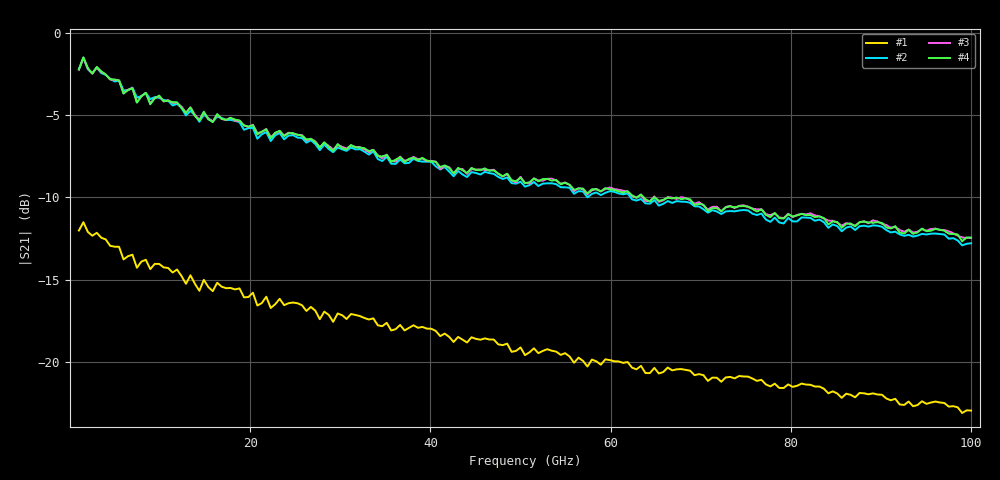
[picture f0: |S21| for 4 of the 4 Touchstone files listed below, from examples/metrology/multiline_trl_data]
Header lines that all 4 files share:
!Created with skrf (http://scikit-rf.org).
# GHz S RI R 50.0
!freq ReS11 ImS11 ReS21 ImS21 ReS12 ImS12 ReS22 ImS22
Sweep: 1 GHz to 100 GHz
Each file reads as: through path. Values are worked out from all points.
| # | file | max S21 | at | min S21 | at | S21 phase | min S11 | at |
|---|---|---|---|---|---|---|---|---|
| 1 | DUT.s2p | -11.50 dB | 1.495 GHz | -23.1 dB | 99.01 GHz | -5 deg at 50.5 GHz | -31.4 dB | 5.95 GHz |
| 2 | line2p3mm.s2p | -1.52 dB | 1.495 GHz | -12.9 dB | 99.01 GHz | 102 deg at 50.5 GHz | -43.0 dB | 72.28 GHz |
| 3 | linep3mm.s2p | -1.51 dB | 1.495 GHz | -12.5 dB | 99.5 GHz | 47 deg at 50.5 GHz | -51.5 dB | 43.57 GHz |
| 4 | thru.s2p | -1.48 dB | 1.495 GHz | -12.7 dB | 99.01 GHz | 94 deg at 50.5 GHz | -50.1 dB | 13.38 GHz |
